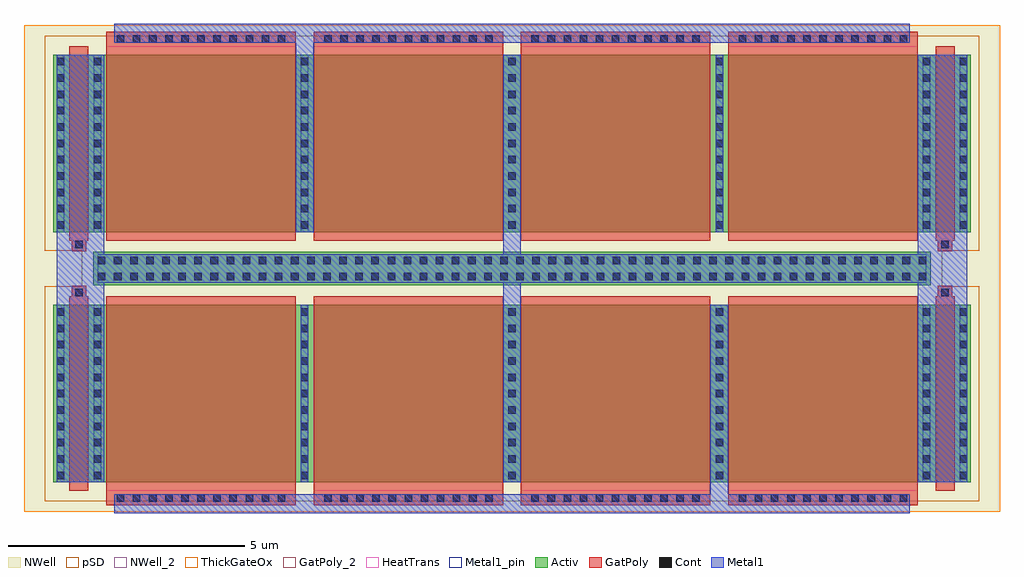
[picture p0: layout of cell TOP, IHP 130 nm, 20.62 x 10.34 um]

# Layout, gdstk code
from math import pi, radians
import gdstk
lib = gdstk.Library(unit=1e-6, precision=1e-09)
def R(c, l, rs):  # rectangles x0, y0, x1, y1
    for r in rs: c.add(gdstk.rectangle(r[:2], r[2:], *l))
def A(c, l, x, y, w, h, nx, ny, dx, dy):  # array of equal rectangles
    R(c, l, [(x+i*dx, y+j*dy, x+i*dx+w, y+j*dy+h) for i in range(nx) for j in range(ny)])
Activ = (1, 0)
GatPoly = (5, 0)
GatPoly_2 = (5, 2)
Cont = (6, 0)
Metal1 = (8, 0)
Metal1_pin = (8, 2)
pSD = (14, 0)
NWell = (31, 0)
NWell_2 = (31, 2)
ThickGateOx = (44, 0)
HeatTrans = (51, 0)

pmoshv = lib.new_cell('pmosHV')
A(pmoshv, Activ, 0, 0, 0.3, 0.3, 5, 1, 4.38, 0)
R(pmoshv, Activ, [(0,0,17.82,3.75)])
A(pmoshv, GatPoly, 0.34, -0.18, 4, 4.11, 4, 1, 4.38, 0)
R(pmoshv, GatPoly_2, [(0.34,-0.18,4.34,3.93)])
A(pmoshv, Cont, 0.07, 0.07, 0.16, 0.16, 5, 11, 4.38, 0.345)
A(pmoshv, Metal1, 0.07, 0, 0.16, 3.75, 5, 1, 4.38, 0)
R(pmoshv, Metal1_pin, [(0.07,0,0.23,3.75), (4.45,0,4.61,3.75)])
R(pmoshv, pSD, [(-0.18,-0.4,18,4.15)])
R(pmoshv, NWell, [(-0.62,-0.62,18.44,4.37)])
R(pmoshv, ThickGateOx, [(-0.62,-0.62,18.44,4.37)])
A(pmoshv, HeatTrans, 0.34, -0.18, 4, 4.11, 4, 1, 4.38, 0)
pmoshv.add(gdstk.Label('pmosHV', (2.34,1.875), layer=63, texttype=0))
pmoshv.add(gdstk.Label('pmos', (2.34,1.875), layer=51, texttype=0))
pmoshv.add(gdstk.Label('pmos', (6.72,1.875), layer=51, texttype=0))
pmoshv.add(gdstk.Label('pmos', (11.1,1.875), layer=51, texttype=0))
pmoshv.add(gdstk.Label('pmos', (15.48,1.875), layer=51, texttype=0))

ntap1 = lib.new_cell('ntap1')
R(ntap1, Activ, [(0,0,17.7,0.7)])
A(ntap1, Cont, 0.1, 0.1, 0.16, 0.16, 52, 2, 0.34, 0.34)
R(ntap1, Metal1, [(0.1,0.05,17.6,0.65)])
R(ntap1, Metal1_pin, [(0.1,0.05,17.6,0.65), (0.1,0.1,17.6,0.6)])
R(ntap1, NWell, [(-0.24,-0.24,17.94,0.94), (0,0,17.7,0.7)])
R(ntap1, NWell_2, [(0,0,17.7,0.7)])
ntap1.add(gdstk.Label('well', (8.85,0.01), layer=31, texttype=0))
ntap1.add(gdstk.Label('well', (8.85,0.01), layer=63, texttype=0))

via_stack = lib.new_cell('via_stack')
R(via_stack, GatPoly, [(-1.85,-0.15,1.85,0.15)])
A(via_stack, Cont, -1.78, -0.08, 0.16, 0.16, 11, 1, 0.34, 0)
R(via_stack, Metal1, [(-1.83,-0.08,1.83,0.08)])

pmoshv_1 = lib.new_cell('pmosHV$1')
R(pmoshv_1, Activ, [(0,0,0.3,0.3), (0,0,1.08,3.75), (0.78,0,1.08,0.3)])
R(pmoshv_1, GatPoly, [(0.34,-0.18,0.74,3.93)])
R(pmoshv_1, GatPoly_2, [(0.34,-0.18,0.74,3.93)])
A(pmoshv_1, Cont, 0.07, 0.07, 0.16, 0.16, 1, 11, 0, 0.345)
A(pmoshv_1, Cont, 0.85, 0.07, 0.16, 0.16, 1, 11, 0, 0.345)
R(pmoshv_1, Metal1, [(0.07,0,0.23,3.75), (0.85,0,1.01,3.75)])
R(pmoshv_1, Metal1_pin, [(0.07,0,0.23,3.75), (0.85,0,1.01,3.75)])
R(pmoshv_1, pSD, [(-0.18,-0.4,1.26,4.15)])
R(pmoshv_1, NWell, [(-0.62,-0.62,1.7,4.37)])
R(pmoshv_1, ThickGateOx, [(-0.62,-0.62,1.7,4.37)])
R(pmoshv_1, HeatTrans, [(0.34,-0.18,0.74,3.93)])
pmoshv_1.add(gdstk.Label('pmosHV', (0.54,1.875), layer=63, texttype=0))
pmoshv_1.add(gdstk.Label('pmos', (0.54,1.875), layer=51, texttype=0))

via_stack_1 = lib.new_cell('via_stack$1')
R(via_stack_1, GatPoly, [(-0.15,-0.15,0.15,0.15)])
R(via_stack_1, Cont, [(-0.08,-0.08,0.08,0.08)])
R(via_stack_1, Metal1, [(-0.13,-0.08,0.13,0.08)])

top = lib.new_cell('TOP')
A(top, GatPoly, 2.105, -17.265, 4, 0.3, 4, 2, 4.38, 9.7)
R(top, Metal1, [(2.275,-17.435,19.075,-17.035), (14.865,-17.035,15.245,-13.035), (1.055,-16.785,1.835,-7.745), (1.765,-16.785,2.065,-7.745), (10.485,-16.785,10.865,-7.745), (19.245,-16.785,19.585,-7.745), (19.515,-16.785,20.295,-7.745), (6.105,-11.495,6.485,-7.495), (2.275,-7.495,19.075,-7.095)])
R(top, pSD, [(1.585,-17.185,19.765,-7.345)])
R(top, NWell, [(0.365,-17.405,20.985,-7.125), (1.145,-17.405,20.205,-7.125)])
R(top, ThickGateOx, [(0.365,-17.405,20.985,-7.125), (1.145,-17.405,20.205,-7.125)])
top.add(gdstk.Reference(pmoshv, (1.765,-16.785)))
top.add(gdstk.Reference(pmoshv, (1.765,-11.495)))
top.add(gdstk.Reference(ntap1, (1.825,-12.615)))
top.add(gdstk.Reference(via_stack, (4.105,-7.415)))
top.add(gdstk.Reference(via_stack, (8.485,-7.415)))
top.add(gdstk.Reference(via_stack, (12.865,-7.415)))
top.add(gdstk.Reference(via_stack, (17.245,-7.415)))
top.add(gdstk.Reference(via_stack, (4.105,-17.115), x_reflection=True))
top.add(gdstk.Reference(via_stack, (8.485,-17.115), x_reflection=True))
top.add(gdstk.Reference(via_stack, (12.865,-17.115), x_reflection=True))
top.add(gdstk.Reference(pmoshv_1, (0.985,-11.495)))
top.add(gdstk.Reference(pmoshv_1, (0.985,-16.785)))
top.add(gdstk.Reference(pmoshv_1, (19.285,-11.495)))
top.add(gdstk.Reference(pmoshv_1, (19.285,-16.785)))
top.add(gdstk.Reference(via_stack_1, (19.825,-12.775)))
top.add(gdstk.Reference(via_stack_1, (19.825,-11.755)))
top.add(gdstk.Reference(via_stack_1, (1.525,-12.775), rotation=pi, x_reflection=True))
top.add(gdstk.Reference(via_stack_1, (1.525,-11.755), rotation=pi, x_reflection=True))
top.add(gdstk.Reference(via_stack, (17.245,-17.115), x_reflection=True))
top.add(gdstk.Label('PMOS Load Mirror', (6.375,-18.48), layer=63, texttype=0))

lib.write_gds('TOP.gds')
